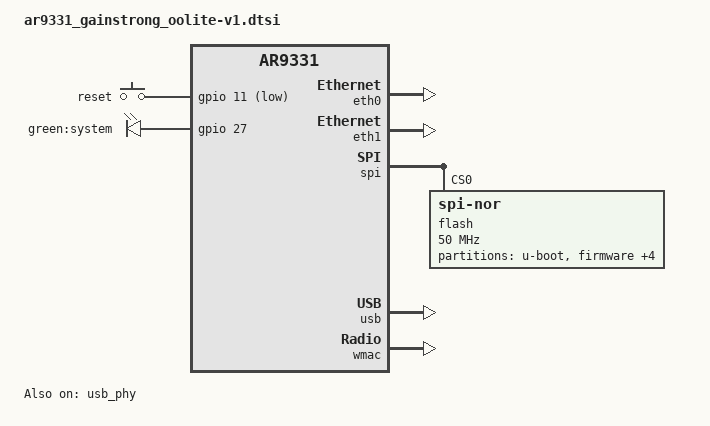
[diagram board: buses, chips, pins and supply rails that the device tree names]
// SPDX-License-Identifier: GPL-2.0-or-later OR MIT

#include "ar9331.dtsi"

#include <dt-bindings/gpio/gpio.h>
#include <dt-bindings/input/input.h>

/ {
	aliases {
		label-mac-device = &wmac;
		led-boot = &led_system;
		led-failsafe = &led_system;
		led-upgrade = &led_system;
	};

	keys {
		compatible = "gpio-keys";

		reset {
			label = "reset";
			linux,code = <KEY_RESTART>;
			gpios = <&gpio 11 GPIO_ACTIVE_LOW>;
		};
	};

	leds {
		compatible = "gpio-leds";

		led_system: system {
			label = "green:system";
			gpios = <&gpio 27 GPIO_ACTIVE_HIGH>;
		};
	};
};

&eth0 {
	status = "okay";

	nvmem-cells = <&macaddr_uboot_1fc00>;
	nvmem-cell-names = "mac-address";

	gmac-config {
		device = <&gmac>;

		switch-phy-addr-swap = <1>;
		switch-phy-swap = <1>;
	};
};

&eth1 {
	status = "okay";

	nvmem-cells = <&macaddr_uboot_1fc00>;
	nvmem-cell-names = "mac-address";
    mac-address-increment = <1>;
};

&spi {
	status = "okay";

	flash@0 {
		compatible = "jedec,spi-nor";
		reg = <0>;
		spi-max-frequency = <50000000>;
		m25p,fast-read;

		partitions {
			compatible = "fixed-partitions";
			#address-cells = <1>;
			#size-cells = <1>;

			uboot: partition@0 {
				label = "u-boot";
				reg = <0x000000 0x020000>;
				read-only;
			};

			firmware: partition@20000 {
				label = "firmware";
				reg = <0x020000 0xfc0000>;
				compatible = "tplink,firmware";
			};

			customer_firmware: customer_firmware{
				label = "customer_firmware";
				reg = <0x020000 0xfc0000>;
			};

			env: partition@env {
				label = "u-boot-env";
	            reg = <0xfe0000 0x10000>;
			};

			art: partition@art {
				label = "art";
	            reg = <0xff0000 0x10000>;
				read-only;
			};
    
			all: partition@all {
	            reg = <0x0 0x1000000>;
				label = "all";
				read-only;
			};
		};
	};
};

&usb {
	status = "okay";
};

&usb_phy {
	dr_mode = "host";
	status = "okay";
};

&wmac {
	status = "okay";

	mtd-cal-data = <&art 0x1000>;

	nvmem-cells = <&macaddr_uboot_1fc00>;
	nvmem-cell-names = "mac-address";
};

&uboot {
	compatible = "nvmem-cells";
	#address-cells = <1>;
	#size-cells = <1>;

	macaddr_uboot_1fc00: macaddr@1fc00 {
		reg = <0x1fc00 0x6>;
	};
};
